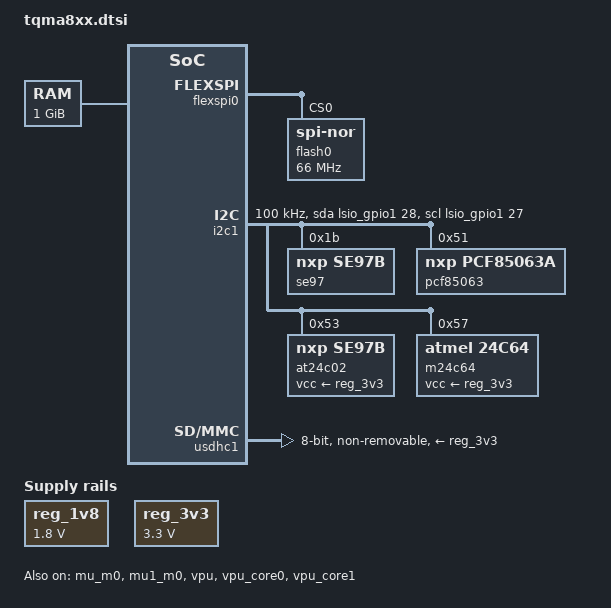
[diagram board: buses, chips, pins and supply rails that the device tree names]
// SPDX-License-Identifier: (GPL-2.0-or-later OR X11)
/*
 * Copyright 2018-2023 TQ-Systems GmbH <linux@ew.tq-group.com>,
 * D-82229 Seefeld, Germany.
 * Author: Alexander Stein
 */

/ {
	memory@80000000 {
		device_type = "memory";
		reg = <0x00000000 0x80000000 0 0x40000000>;
	};

	reg_1v8: regulator-1v8 {
		compatible = "regulator-fixed";
		regulator-name = "V_1V8";
		regulator-min-microvolt = <1800000>;
		regulator-max-microvolt = <1800000>;
	};

	reg_3v3: regulator-3v3 {
		compatible = "regulator-fixed";
		regulator-name = "V_3V3";
		regulator-min-microvolt = <3300000>;
		regulator-max-microvolt = <3300000>;
	};

	reserved-memory {
		#address-cells = <2>;
		#size-cells = <2>;
		ranges;

		/*
		 * global autoconfigured region for contiguous allocations
		 * must not exceed memory size and region
		 */
		linux,cma {
			compatible = "shared-dma-pool";
			reusable;
			size = <0 0x20000000>;
			alloc-ranges = <0 0x96000000 0 0x30000000>;
			linux,cma-default;
		};
	};
};

/* TQMa8Xx only uses industrial grade, reduce trip points accordingly */
&cpu_alert0 {
	temperature = <95000>;
};

&cpu_crit0 {
	temperature = <100000>;
};
/* end of temperature grade adjustments */

&flexspi0 {
	pinctrl-names = "default";
	pinctrl-0 = <&pinctrl_flexspi0>;
	status = "okay";

	flash0: flash@0 {
		reg = <0>;
		#address-cells = <1>;
		#size-cells = <1>;
		compatible = "jedec,spi-nor";
		spi-max-frequency = <66000000>;
		spi-tx-bus-width = <1>;
		spi-rx-bus-width = <4>;
	};
};

/* TODO GPU */

&i2c1 {
	#address-cells = <1>;
	#size-cells = <0>;
	clock-frequency = <100000>;
	pinctrl-names = "default", "gpio";
	pinctrl-0 = <&pinctrl_lpi2c1>;
	pinctrl-1 = <&pinctrl_lpi2c1gpio>;
	scl-gpios = <&lsio_gpio1 27 (GPIO_ACTIVE_HIGH | GPIO_OPEN_DRAIN)>;
	sda-gpios = <&lsio_gpio1 28 (GPIO_ACTIVE_HIGH | GPIO_OPEN_DRAIN)>;
	status = "okay";

	se97: temperature-sensor@1b {
		compatible = "nxp,se97b", "jedec,jc-42.4-temp";
		reg = <0x1b>;
	};

	pcf85063: rtc@51 {
		compatible = "nxp,pcf85063a";
		reg = <0x51>;
		quartz-load-femtofarads = <7000>;
	};

	at24c02: eeprom@53 {
		compatible = "nxp,se97b", "atmel,24c02";
		reg = <0x53>;
		pagesize = <16>;
		read-only;
		vcc-supply = <&reg_3v3>;
	};

	m24c64: eeprom@57 {
		compatible = "atmel,24c64";
		reg = <0x57>;
		pagesize = <32>;
		vcc-supply = <&reg_3v3>;
	};
};

&mu_m0 {
	status = "okay";
};

&mu1_m0 {
	status = "okay";
};

&thermal_zones {
	pmic_thermal: pmic-thermal {
		polling-delay-passive = <250>;
		polling-delay = <2000>;
		thermal-sensors = <&tsens IMX_SC_R_PMIC_0>;

		trips {
			pmic_alert0: trip0 {
				temperature = <110000>;
				hysteresis = <2000>;
				type = "passive";
			};

			pmic_crit0: trip1 {
				temperature = <125000>;
				hysteresis = <2000>;
				type = "critical";
			};
		};

		cooling-maps {
			map0 {
				trip = <&pmic_alert0>;
				cooling-device =
					<&A35_0 THERMAL_NO_LIMIT THERMAL_NO_LIMIT>,
					<&A35_1 THERMAL_NO_LIMIT THERMAL_NO_LIMIT>,
					<&A35_2 THERMAL_NO_LIMIT THERMAL_NO_LIMIT>,
					<&A35_3 THERMAL_NO_LIMIT THERMAL_NO_LIMIT>;
			};
		};
	};
};

&usdhc1 {
	pinctrl-names = "default", "state_100mhz", "state_200mhz";
	pinctrl-0 = <&pinctrl_usdhc1>;
	pinctrl-1 = <&pinctrl_usdhc1_100mhz>;
	pinctrl-2 = <&pinctrl_usdhc1_200mhz>;
	vqmmc-supply = <&reg_1v8>;
	vmmc-supply = <&reg_3v3>;
	bus-width = <8>;
	non-removable;
	no-sdio;
	no-sd;
	status = "okay";
};

&vpu {
	compatible = "nxp,imx8qxp-vpu";
	status = "okay";
};

&vpu_core0 {
	memory-region = <&decoder_boot>, <&decoder_rpc>;
	status = "okay";
};

&vpu_core1 {
	memory-region = <&encoder_boot>, <&encoder_rpc>;
	status = "okay";
};

&iomuxc {
	pinctrl_flexspi0: flexspi0grp {
		fsl,pins = <
			IMX8QXP_QSPI0A_DATA0_LSIO_QSPI0A_DATA0	0x0600004d
			IMX8QXP_QSPI0A_DATA1_LSIO_QSPI0A_DATA1	0x0600004d
			IMX8QXP_QSPI0A_DATA2_LSIO_QSPI0A_DATA2	0x0600004d
			IMX8QXP_QSPI0A_DATA3_LSIO_QSPI0A_DATA3	0x0600004d
			IMX8QXP_QSPI0A_DQS_LSIO_QSPI0A_DQS	0x0600004d
			IMX8QXP_QSPI0A_SS0_B_LSIO_QSPI0A_SS0_B	0x0600004d
			IMX8QXP_QSPI0A_SCLK_LSIO_QSPI0A_SCLK	0x0600004d
			IMX8QXP_QSPI0B_SCLK_LSIO_QSPI0B_SCLK	0x0600004d
			IMX8QXP_QSPI0B_DATA0_LSIO_QSPI0B_DATA0	0x0600004d
			IMX8QXP_QSPI0B_DATA1_LSIO_QSPI0B_DATA1	0x0600004d
			IMX8QXP_QSPI0B_DATA2_LSIO_QSPI0B_DATA2	0x0600004d
			IMX8QXP_QSPI0B_DATA3_LSIO_QSPI0B_DATA3	0x0600004d
			IMX8QXP_QSPI0B_DQS_LSIO_QSPI0B_DQS	0x0600004d
			IMX8QXP_QSPI0B_SS0_B_LSIO_QSPI0B_SS0_B	0x0600004d
			IMX8QXP_QSPI0B_SS1_B_LSIO_QSPI0B_SS1_B	0x0600004d
		>;
	};

	pinctrl_lpi2c1: lpi2c1grp {
		fsl,pins = <
			IMX8QXP_MIPI_DSI0_GPIO0_00_ADMA_I2C1_SCL	0x06000021
			IMX8QXP_MIPI_DSI0_GPIO0_01_ADMA_I2C1_SDA	0x06000021
		>;
	};

	pinctrl_lpi2c1gpio: lpi2c1gpiogrp {
		fsl,pins = <
			IMX8QXP_MIPI_DSI0_GPIO0_00_LSIO_GPIO1_IO27	0x06000021
			IMX8QXP_MIPI_DSI0_GPIO0_01_LSIO_GPIO1_IO28	0x06000021
		>;
	};

	pinctrl_usdhc1: usdhc1grp {
		fsl,pins = <
			IMX8QXP_EMMC0_CLK_CONN_EMMC0_CLK	0x06000041
			IMX8QXP_EMMC0_CMD_CONN_EMMC0_CMD	0x00000021
			IMX8QXP_EMMC0_DATA0_CONN_EMMC0_DATA0	0x00000021
			IMX8QXP_EMMC0_DATA1_CONN_EMMC0_DATA1	0x00000021
			IMX8QXP_EMMC0_DATA2_CONN_EMMC0_DATA2	0x00000021
			IMX8QXP_EMMC0_DATA3_CONN_EMMC0_DATA3	0x00000021
			IMX8QXP_EMMC0_DATA4_CONN_EMMC0_DATA4	0x00000021
			IMX8QXP_EMMC0_DATA5_CONN_EMMC0_DATA5	0x00000021
			IMX8QXP_EMMC0_DATA6_CONN_EMMC0_DATA6	0x00000021
			IMX8QXP_EMMC0_DATA7_CONN_EMMC0_DATA7	0x00000021
			IMX8QXP_EMMC0_STROBE_CONN_EMMC0_STROBE	0x00000041
		>;
	};

	pinctrl_usdhc1_100mhz: usdhc1-100mhzgrp {
		fsl,pins = <
			IMX8QXP_EMMC0_CLK_CONN_EMMC0_CLK	0x06000040
			IMX8QXP_EMMC0_CMD_CONN_EMMC0_CMD	0x00000020
			IMX8QXP_EMMC0_DATA0_CONN_EMMC0_DATA0	0x00000020
			IMX8QXP_EMMC0_DATA1_CONN_EMMC0_DATA1	0x00000020
			IMX8QXP_EMMC0_DATA2_CONN_EMMC0_DATA2	0x00000020
			IMX8QXP_EMMC0_DATA3_CONN_EMMC0_DATA3	0x00000020
			IMX8QXP_EMMC0_DATA4_CONN_EMMC0_DATA4	0x00000020
			IMX8QXP_EMMC0_DATA5_CONN_EMMC0_DATA5	0x00000020
			IMX8QXP_EMMC0_DATA6_CONN_EMMC0_DATA6	0x00000020
			IMX8QXP_EMMC0_DATA7_CONN_EMMC0_DATA7	0x00000020
			IMX8QXP_EMMC0_STROBE_CONN_EMMC0_STROBE	0x00000040
		>;
	};

	pinctrl_usdhc1_200mhz: usdhc1-200mhzgrp {
		fsl,pins = <
			IMX8QXP_EMMC0_CLK_CONN_EMMC0_CLK	0x06000040
			IMX8QXP_EMMC0_CMD_CONN_EMMC0_CMD	0x00000020
			IMX8QXP_EMMC0_DATA0_CONN_EMMC0_DATA0	0x00000020
			IMX8QXP_EMMC0_DATA1_CONN_EMMC0_DATA1	0x00000020
			IMX8QXP_EMMC0_DATA2_CONN_EMMC0_DATA2	0x00000020
			IMX8QXP_EMMC0_DATA3_CONN_EMMC0_DATA3	0x00000020
			IMX8QXP_EMMC0_DATA4_CONN_EMMC0_DATA4	0x00000020
			IMX8QXP_EMMC0_DATA5_CONN_EMMC0_DATA5	0x00000020
			IMX8QXP_EMMC0_DATA6_CONN_EMMC0_DATA6	0x00000020
			IMX8QXP_EMMC0_DATA7_CONN_EMMC0_DATA7	0x00000020
			IMX8QXP_EMMC0_STROBE_CONN_EMMC0_STROBE	0x00000040
		>;
	};
};
